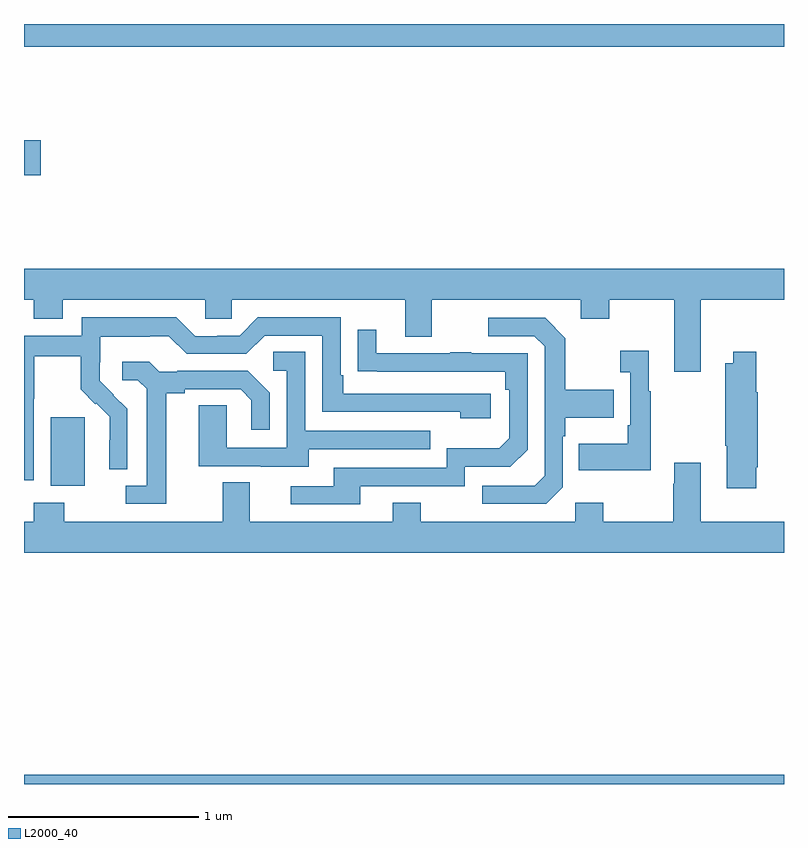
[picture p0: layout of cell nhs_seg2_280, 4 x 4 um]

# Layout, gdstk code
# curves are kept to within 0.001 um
import gdstk
lib = gdstk.Library(unit=1e-6, precision=1e-09)
def R(c, l, rs):  # rectangles x0, y0, x1, y1
    for r in rs: c.add(gdstk.rectangle(r[:2], r[2:], *l))
def P(c, l, *ps):  # polygons
    for p in ps: c.add(gdstk.Polygon(p, *l))
L2000_40 = (2000, 40)

nhs_seg2_280 = lib.new_cell('nhs_seg2_280')
R(nhs_seg2_280, L2000_40, [(125,599.8,129,599.848), (125.141,601.37,125.32,601.731), (125,603.005,125.089,603.188), (125,603.68,129,603.8)])
P(nhs_seg2_280, L2000_40, [(128.563,602.348),(129,602.348),(129,602.512),(125,602.512),(125,602.348),(125.051,602.348),(125.051,602.249),(125.203,602.249),(125.203,602.348),(125.955,602.348),(125.955,602.25),(126.093,602.25),(126.093,602.348),(127.007,602.348),(127.007,602.154),(127.147,602.154),(127.147,602.348),(127.931,602.348),(127.931,602.249),(128.079,602.249),(128.079,602.348),(128.423,602.348),(128.423,601.971),(128.563,601.971)],
  [(125.052,601.828),(125.055,601.828),(125.055,602.052),(125.299,602.052),(125.299,601.877),(125.376,601.8),(125.379,601.803),(125.45,601.733),(125.45,601.61),(125.448,601.61),(125.448,601.456),(125.544,601.456),(125.544,601.774),(125.398,601.922),(125.398,602.019),(125.4,602.019),(125.4,602.153),(125.663,602.153),(125.663,602.157),(125.763,602.157),(125.856,602.064),(126.171,602.064),(126.267,602.16),(126.57,602.16),(126.57,601.758),(127.295,601.758),(127.295,601.724),(127.456,601.724),(127.456,601.854),(126.679,601.854),(126.679,601.951),(126.666,601.951),(126.666,602.256),(126.231,602.256),(126.135,602.16),(126.017,602.16),(126.017,602.157),(125.901,602.157),(125.801,602.257),(125.304,602.257),(125.304,602.16),(125,602.16),(125,601.399),(125.052,601.399)],
  [(127.836,601.362),(127.836,601.631),(127.849,601.631),(127.849,601.727),(128.105,601.727),(128.105,601.875),(127.849,601.875),(127.849,602.147),(127.743,602.253),(127.443,602.253),(127.443,602.157),(127.686,602.157),(127.74,602.103),(127.74,601.422),(127.689,601.371),(127.413,601.371),(127.413,601.275),(127.749,601.275)],
  [(126.769,601.368),(127.32,601.368),(127.32,601.47),(127.56,601.47),(127.65,601.56),(127.65,602.067),(127.355,602.067),(127.355,602.072),(127.243,602.072),(127.243,602.067),(126.853,602.067),(126.853,602.191),(126.757,602.191),(126.757,601.972),(127.534,601.971),(127.534,601.874),(127.554,601.874),(127.554,601.62),(127.501,601.567),(127.224,601.567),(127.224,601.464),(126.629,601.464),(126.629,601.368),(126.405,601.368),(126.405,601.272),(126.769,601.272)],
  [(128.299,601.867),(128.287,601.867),(128.287,602.08),(128.139,602.08),(128.139,601.967),(128.19,601.967),(128.19,601.687),(128.178,601.687),(128.178,601.591),(127.921,601.591),(127.921,601.451),(128.299,601.451)],
  [(126.499,601.563),(127.139,601.563),(127.139,601.659),(126.48,601.659),(126.48,602.075),(126.312,602.075),(126.312,601.974),(126.384,601.974),(126.384,601.569),(126.066,601.569),(126.066,601.793),(125.921,601.793),(125.921,601.473),(126.245,601.473),(126.245,601.469),(126.499,601.469)],
  [(128.854,601.468),(128.862,601.468),(128.862,601.861),(128.854,601.861),(128.854,602.074),(128.732,602.074),(128.732,602.014),(128.692,602.014),(128.692,601.579),(128.699,601.579),(128.699,601.356),(128.854,601.356)],
  [(125.749,601.856),(125.845,601.856),(125.845,601.878),(126.14,601.878),(126.197,601.821),(126.197,601.665),(126.294,601.665),(126.294,601.858),(126.178,601.974),(125.806,601.974),(125.806,601.971),(125.712,601.971),(125.66,602.023),(125.517,602.023),(125.517,601.926),(125.598,601.926),(125.645,601.879),(125.645,601.371),(125.535,601.371),(125.535,601.275),(125.749,601.275)],
  [(129,601.18),(128.563,601.18),(128.563,601.492),(128.423,601.492),(128.423,601.379),(128.416,601.379),(128.416,601.18),(128.049,601.18),(128.049,601.279),(127.902,601.279),(127.902,601.18),(127.089,601.18),(127.089,601.279),(126.941,601.279),(126.941,601.18),(126.187,601.18),(126.187,601.388),(126.047,601.388),(126.047,601.18),(125.211,601.18),(125.211,601.279),(125.051,601.279),(125.051,601.18),(125,601.18),(125,601.016),(129,601.016)])

lib.write_gds('nhs_seg2_280.gds')
